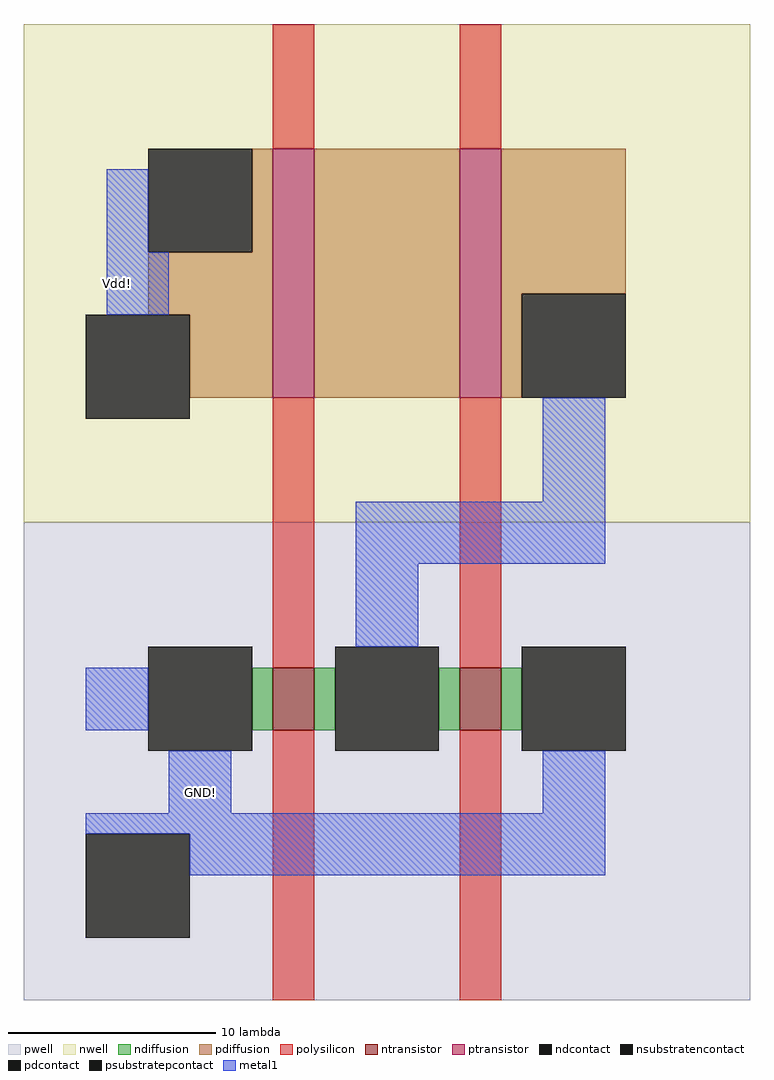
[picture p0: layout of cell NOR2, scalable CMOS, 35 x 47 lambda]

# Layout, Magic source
magic
tech scmos
<< nwell >>
rect -15 -16 20 8
<< pwell >>
rect -15 -39 20 -16
<< ntransistor >>
rect -3 -26 -1 -23
rect 6 -26 8 -23
<< ptransistor >>
rect -3 -10 -1 2
rect 6 -10 8 2
<< ndiffusion >>
rect -4 -26 -3 -23
rect -1 -26 0 -23
rect 5 -26 6 -23
rect 8 -26 9 -23
<< pdiffusion >>
rect -4 -3 -3 2
rect -9 -6 -3 -3
rect -7 -10 -3 -6
rect -1 -10 6 2
rect 8 -5 14 2
rect 8 -10 9 -5
<< ndcontact >>
rect -9 -27 -4 -22
rect 0 -27 5 -22
rect 9 -27 14 -22
<< pdcontact >>
rect -9 -3 -4 2
rect 9 -10 14 -5
<< psubstratepcontact >>
rect -12 -36 -7 -31
<< nsubstratencontact >>
rect -12 -11 -7 -6
<< polysilicon >>
rect -3 2 -1 8
rect 6 2 8 8
rect -3 -23 -1 -10
rect -3 -39 -1 -26
rect 6 -23 8 -10
rect 6 -39 8 -26
<< metal1 >>
rect -11 -3 -9 1
rect -11 -6 -8 -3
rect 10 -15 13 -10
rect 1 -18 13 -15
rect 1 -22 4 -18
rect -12 -26 -9 -23
rect -8 -30 -5 -27
rect 10 -30 13 -27
rect -12 -31 13 -30
rect -7 -33 13 -31
<< labels >>
rlabel metal1 -11 -6 -10 -3 1 Vdd!
rlabel metal1 -8 -30 -5 -28 1 GND!
<< end >>
